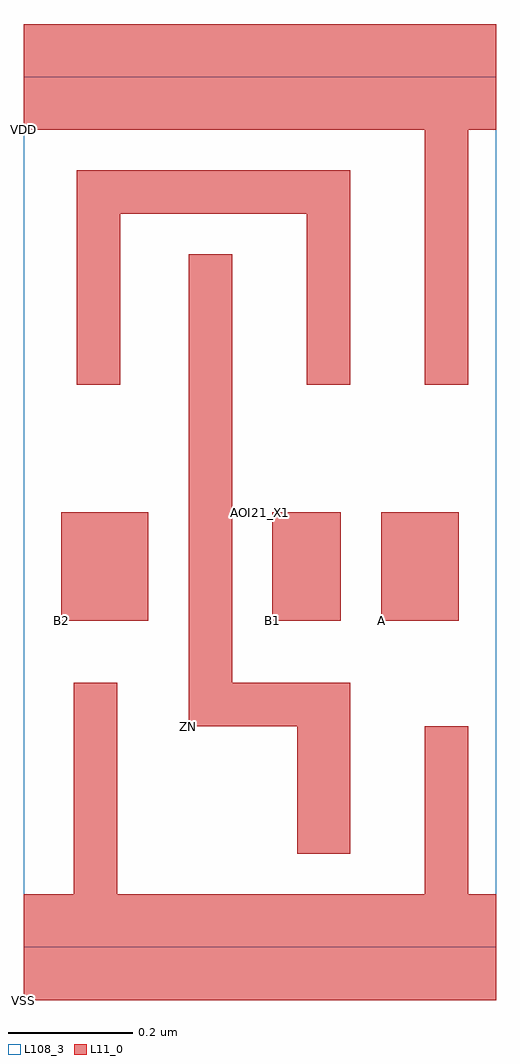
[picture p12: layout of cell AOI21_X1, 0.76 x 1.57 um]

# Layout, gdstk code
import gdstk
lib = gdstk.Library(unit=1e-6, precision=1e-09)
def R(c, l, rs):  # rectangles x0, y0, x1, y1
    for r in rs: c.add(gdstk.rectangle(r[:2], r[2:], *l))
def P(c, l, *ps):  # polygons
    for p in ps: c.add(gdstk.Polygon(p, *l))
L11_0 = (11, 0)
L108_3 = (108, 3)

aoi21_x1 = lib.new_cell('AOI21_X1')
R(aoi21_x1, L11_0, [(0.06,0.525,0.2,0.7), (0.4,0.525,0.51,0.7), (0.575,0.525,0.7,0.7)])
P(aoi21_x1, L11_0, [(0.265,0.355),(0.44,0.355),(0.44,0.15),(0.525,0.15),(0.525,0.425),(0.335,0.425),(0.335,1.115),(0.265,1.115)],
  [(0,1.315),(0.525,1.315),(0.645,1.315),(0.645,0.905),(0.715,0.905),(0.715,1.315),(0.76,1.315),(0.76,1.485),(0.525,1.485),(0,1.485)],
  [(0,-0.085),(0.76,-0.085),(0.76,0.085),(0.715,0.085),(0.715,0.355),(0.645,0.355),(0.645,0.085),(0.15,0.085),(0.15,0.425),(0.08,0.425),(0.08,0.085),(0,0.085)],
  [(0.085,0.905),(0.155,0.905),(0.155,1.18),(0.455,1.18),(0.455,0.905),(0.525,0.905),(0.525,1.25),(0.085,1.25)])
R(aoi21_x1, L108_3, [(0,0,0.76,1.4)])
aoi21_x1.add(gdstk.Label('AOI21_X1', (0.38,0.7), layer=108, texttype=3))
aoi21_x1.add(gdstk.Label('A', (0.575,0.525), layer=11, texttype=0))
aoi21_x1.add(gdstk.Label('B1', (0.4,0.525), layer=11, texttype=0))
aoi21_x1.add(gdstk.Label('B2', (0.06,0.525), layer=11, texttype=0))
aoi21_x1.add(gdstk.Label('ZN', (0.265,0.355), layer=11, texttype=0))
aoi21_x1.add(gdstk.Label('VDD', (0,1.315), layer=11, texttype=0))
aoi21_x1.add(gdstk.Label('VSS', (0,-0.085), layer=11, texttype=0))

lib.write_gds('AOI21_X1.gds')
